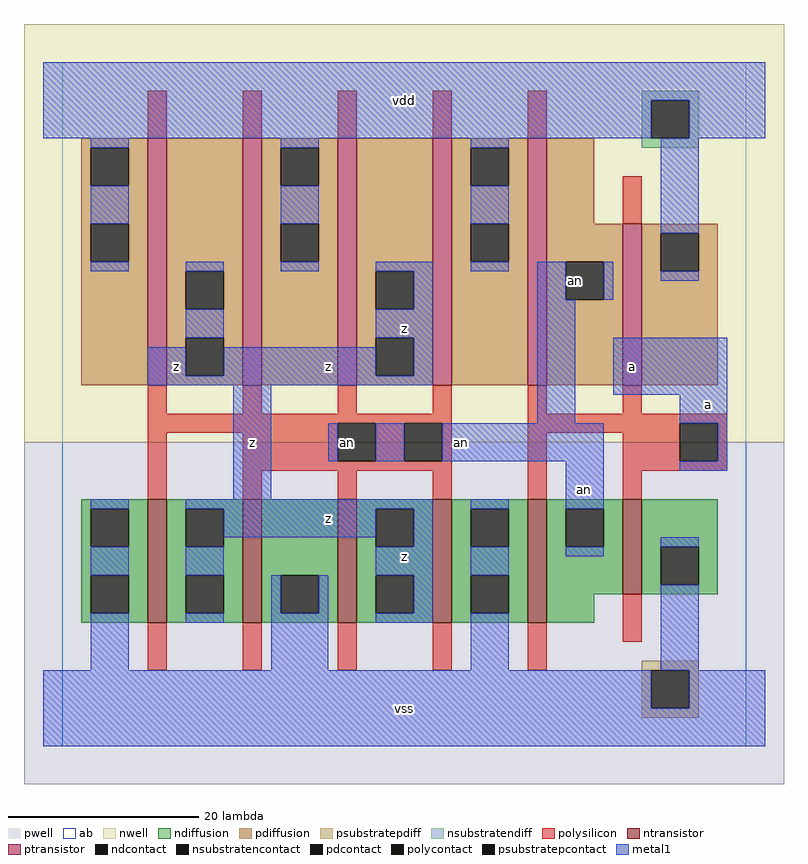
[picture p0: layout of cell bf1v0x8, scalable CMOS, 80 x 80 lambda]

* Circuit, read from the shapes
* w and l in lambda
.subckt bf1v0x8 a an vdd vss z
M1 z an vss vss nfet w=13 l=2 m=4
M2 an a vss vss nfet w=13 l=2
M3 vss a an vss nfet w=10 l=2
M4 z an vdd vdd pfet w=26 l=2 m=4
M5 an a vdd vdd pfet w=26 l=2
M6 vdd a an vdd pfet w=17 l=2
.ends

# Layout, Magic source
magic
tech scmos
<< ab >>
rect 0 0 72 72
<< pwell >>
rect -4 -4 76 32
<< nwell >>
rect -4 32 76 76
<< polysilicon >>
rect 9 64 11 69
rect 19 64 21 69
rect 29 64 31 69
rect 39 64 41 69
rect 49 64 51 69
rect 59 55 61 60
rect 9 35 11 38
rect 19 35 21 38
rect 29 35 31 38
rect 39 35 41 38
rect 9 34 41 35
rect 9 33 29 34
rect 9 26 11 33
rect 19 30 29 33
rect 33 30 36 34
rect 40 30 41 34
rect 19 29 41 30
rect 19 26 21 29
rect 29 26 31 29
rect 39 26 41 29
rect 49 35 51 38
rect 59 35 61 38
rect 49 34 70 35
rect 49 33 65 34
rect 49 26 51 33
rect 59 30 65 33
rect 69 30 70 34
rect 59 29 70 30
rect 59 26 61 29
rect 9 8 11 13
rect 19 8 21 13
rect 29 8 31 13
rect 39 8 41 13
rect 49 8 51 13
rect 59 11 61 16
<< ndiffusion >>
rect 2 25 9 26
rect 2 21 3 25
rect 7 21 9 25
rect 2 18 9 21
rect 2 14 3 18
rect 7 14 9 18
rect 2 13 9 14
rect 11 25 19 26
rect 11 21 13 25
rect 17 21 19 25
rect 11 18 19 21
rect 11 14 13 18
rect 17 14 19 18
rect 11 13 19 14
rect 21 18 29 26
rect 21 14 23 18
rect 27 14 29 18
rect 21 13 29 14
rect 31 25 39 26
rect 31 21 33 25
rect 37 21 39 25
rect 31 18 39 21
rect 31 14 33 18
rect 37 14 39 18
rect 31 13 39 14
rect 41 25 49 26
rect 41 21 43 25
rect 47 21 49 25
rect 41 18 49 21
rect 41 14 43 18
rect 47 14 49 18
rect 41 13 49 14
rect 51 25 59 26
rect 51 21 53 25
rect 57 21 59 25
rect 51 16 59 21
rect 61 21 69 26
rect 61 17 63 21
rect 67 17 69 21
rect 61 16 69 17
rect 51 13 56 16
<< pdiffusion >>
rect 2 63 9 64
rect 2 59 3 63
rect 7 59 9 63
rect 2 55 9 59
rect 2 51 3 55
rect 7 51 9 55
rect 2 38 9 51
rect 11 50 19 64
rect 11 46 13 50
rect 17 46 19 50
rect 11 43 19 46
rect 11 39 13 43
rect 17 39 19 43
rect 11 38 19 39
rect 21 63 29 64
rect 21 59 23 63
rect 27 59 29 63
rect 21 55 29 59
rect 21 51 23 55
rect 27 51 29 55
rect 21 38 29 51
rect 31 50 39 64
rect 31 46 33 50
rect 37 46 39 50
rect 31 43 39 46
rect 31 39 33 43
rect 37 39 39 43
rect 31 38 39 39
rect 41 63 49 64
rect 41 59 43 63
rect 47 59 49 63
rect 41 55 49 59
rect 41 51 43 55
rect 47 51 49 55
rect 41 38 49 51
rect 51 55 56 64
rect 51 51 59 55
rect 51 47 53 51
rect 57 47 59 51
rect 51 38 59 47
rect 61 54 69 55
rect 61 50 63 54
rect 67 50 69 54
rect 61 38 69 50
<< metal1 >>
rect -2 68 74 72
rect -2 64 62 68
rect 66 64 74 68
rect 3 63 7 64
rect 3 55 7 59
rect 23 63 27 64
rect 23 55 27 59
rect 43 63 47 64
rect 43 55 47 59
rect 63 54 67 64
rect 3 50 7 51
rect 13 50 17 51
rect 23 50 27 51
rect 33 50 39 51
rect 43 50 47 51
rect 13 43 17 46
rect 9 39 13 42
rect 37 46 39 50
rect 33 43 39 46
rect 17 39 33 42
rect 37 39 39 43
rect 9 38 39 39
rect 50 47 53 51
rect 57 47 58 51
rect 63 49 67 50
rect 18 26 22 38
rect 50 34 54 47
rect 58 37 70 43
rect 65 34 70 37
rect 28 30 29 34
rect 33 30 36 34
rect 40 30 57 34
rect 3 25 7 26
rect 3 18 7 21
rect 3 8 7 14
rect 13 25 39 26
rect 17 22 33 25
rect 13 18 17 21
rect 37 21 39 25
rect 33 18 39 21
rect 13 13 17 14
rect 22 14 23 18
rect 27 14 28 18
rect 22 8 28 14
rect 37 14 39 18
rect 33 13 39 14
rect 43 25 47 26
rect 43 18 47 21
rect 53 25 57 30
rect 69 30 70 34
rect 65 29 70 30
rect 53 20 57 21
rect 63 21 67 22
rect 43 8 47 14
rect 63 8 67 17
rect -2 4 62 8
rect 66 4 74 8
rect -2 0 74 4
<< ntransistor >>
rect 9 13 11 26
rect 19 13 21 26
rect 29 13 31 26
rect 39 13 41 26
rect 49 13 51 26
rect 59 16 61 26
<< ptransistor >>
rect 9 38 11 64
rect 19 38 21 64
rect 29 38 31 64
rect 39 38 41 64
rect 49 38 51 64
rect 59 38 61 55
<< polycontact >>
rect 29 30 33 34
rect 36 30 40 34
rect 65 30 69 34
<< ndcontact >>
rect 3 21 7 25
rect 3 14 7 18
rect 13 21 17 25
rect 13 14 17 18
rect 23 14 27 18
rect 33 21 37 25
rect 33 14 37 18
rect 43 21 47 25
rect 43 14 47 18
rect 53 21 57 25
rect 63 17 67 21
<< pdcontact >>
rect 3 59 7 63
rect 3 51 7 55
rect 13 46 17 50
rect 13 39 17 43
rect 23 59 27 63
rect 23 51 27 55
rect 33 46 37 50
rect 33 39 37 43
rect 43 59 47 63
rect 43 51 47 55
rect 53 47 57 51
rect 63 50 67 54
<< psubstratepcontact >>
rect 62 4 66 8
<< nsubstratencontact >>
rect 62 64 66 68
<< psubstratepdiff >>
rect 61 8 67 9
rect 61 4 62 8
rect 66 4 67 8
rect 61 3 67 4
<< nsubstratendiff >>
rect 61 68 67 69
rect 61 64 62 68
rect 66 64 67 68
rect 61 63 67 64
<< labels >>
rlabel polycontact 30 32 30 32 6 an
rlabel metal1 12 40 12 40 6 z
rlabel metal1 20 32 20 32 6 z
rlabel metal1 28 24 28 24 6 z
rlabel metal1 28 40 28 40 6 z
rlabel metal1 36 4 36 4 6 vss
rlabel metal1 36 20 36 20 6 z
rlabel metal1 36 44 36 44 6 z
rlabel metal1 36 68 36 68 6 vdd
rlabel metal1 55 27 55 27 6 an
rlabel metal1 42 32 42 32 6 an
rlabel metal1 60 40 60 40 6 a
rlabel metal1 68 36 68 36 6 a
rlabel pdcontact 54 49 54 49 6 an
<< end >>
